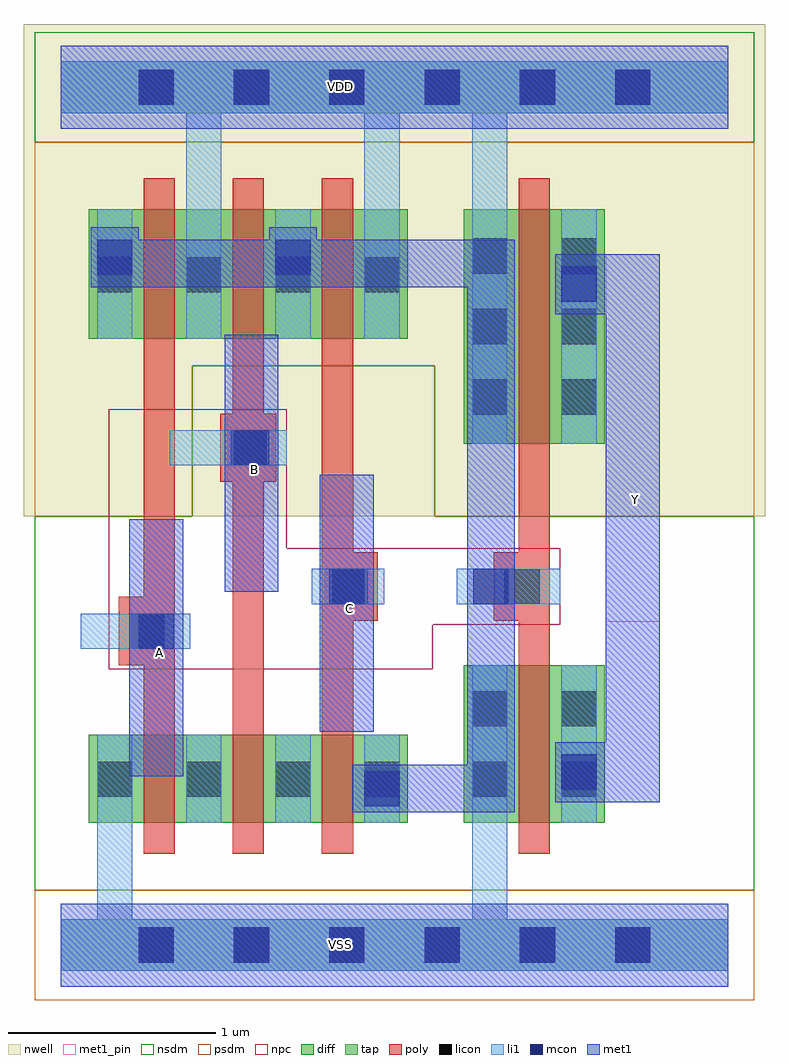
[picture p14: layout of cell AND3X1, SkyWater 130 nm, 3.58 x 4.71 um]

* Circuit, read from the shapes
.subckt AND3X1 A B C VDD VSS Y
XM1 n1 A VSS VSS sky130_fd_pr__nfet_01v8 w=0.425 l=0.15
XM2 n2 B n1 VSS sky130_fd_pr__nfet_01v8 w=0.425 l=0.15
XM3 n3 C n2 VSS sky130_fd_pr__nfet_01v8 w=0.425 l=0.15
XM4 Y n3 VSS VSS sky130_fd_pr__nfet_01v8 w=0.76 l=0.15
XM5 VDD A n3 VDD sky130_fd_pr__pfet_01v8 w=0.625 l=0.15
XM6 n3 B VDD VDD sky130_fd_pr__pfet_01v8 w=0.625 l=0.15
XM7 VDD C n3 VDD sky130_fd_pr__pfet_01v8 w=0.625 l=0.15
XM8 Y n3 VDD VDD sky130_fd_pr__pfet_01v8 w=1.13 l=0.15
.ends

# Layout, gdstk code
from math import pi, radians
import gdstk
lib = gdstk.Library(unit=1e-6, precision=1e-09)
def R(c, l, rs):  # rectangles x0, y0, x1, y1
    for r in rs: c.add(gdstk.rectangle(r[:2], r[2:], *l))
def A(c, l, x, y, w, h, nx, ny, dx, dy):  # array of equal rectangles
    R(c, l, [(x+i*dx, y+j*dy, x+i*dx+w, y+j*dy+h) for i in range(nx) for j in range(ny)])
def P(c, l, *ps):  # polygons
    for p in ps: c.add(gdstk.Polygon(p, *l))
nwell = (64, 20)
diff = (65, 20)
tap = (65, 44)
poly = (66, 20)
licon = (66, 44)
li1 = (67, 20)
mcon = (67, 44)
met1_pin = (68, 16)
met1 = (68, 20)
nsdm = (93, 44)
psdm = (94, 20)
npc = (95, 20)

pyl1con_c_cdns_751554744 = lib.new_cell('PYL1CON_C_CDNS_751554744751')
R(pyl1con_c_cdns_751554744, poly, [(-0.135,-0.165,0.135,0.165)])
R(pyl1con_c_cdns_751554744, licon, [(-0.085,-0.085,0.085,0.085)])
R(pyl1con_c_cdns_751554744, npc, [(-0.185,-0.185,0.185,0.185)])

l1m1_c_cdns_751554744750 = lib.new_cell('L1M1_C_CDNS_751554744750$$8')
R(l1m1_c_cdns_751554744750, li1, [(-0.085,-0.165,0.085,0.165)])
R(l1m1_c_cdns_751554744750, mcon, [(-0.085,-0.085,0.085,0.085)])
R(l1m1_c_cdns_751554744750, met1, [(-0.115,-0.145,0.115,0.145)])

c_l1m1_c_cdns_751554744750 = lib.new_cell('L1M1_C_CDNS_751554744750$$9')
R(c_l1m1_c_cdns_751554744750, li1, [(-0.165,-0.085,0.165,0.085)])
R(c_l1m1_c_cdns_751554744750, mcon, [(-0.085,-0.085,0.085,0.085)])
R(c_l1m1_c_cdns_751554744750, met1, [(-0.115,-0.145,0.115,0.145)])

and3x1 = lib.new_cell('AND3X1')
R(and3x1, nwell, [(-0.18,2.07,3.4,4.445)])
R(and3x1, diff, [(0.135,0.59,1.675,1.015), (1.945,0.59,2.625,1.35), (1.945,2.42,2.625,3.55), (0.135,2.925,1.675,3.55)])
A(and3x1, poly, 0.4, 0.44, 0.15, 3.26, 3, 1, 0.43, 0)
R(and3x1, poly, [(2.21,0.44,2.36,3.7)])
A(and3x1, licon, 0.375, -0.085, 0.17, 0.17, 6, 2, 0.46, 4.14)
A(and3x1, licon, 0.175, 0.715, 0.17, 0.17, 4, 2, 0.43, 2.435)
A(and3x1, licon, 1.985, 2.56, 0.17, 0.17, 1, 3, 0, 0.34)
A(and3x1, licon, 2.415, 2.56, 0.17, 0.17, 1, 3, 0, 0.34)
R(and3x1, licon, [(1.985,0.715,2.155,0.885), (2.415,0.715,2.585,0.885), (1.985,1.055,2.155,1.225), (2.415,1.055,2.585,1.225)])
A(and3x1, li1, 0.605, 0.59, 0.17, 0.425, 3, 1, 0.43, 0)
R(and3x1, li1, [(2.415,0.59,2.585,1.35), (2.415,2.42,2.585,3.55), (0.175,2.925,0.345,3.55), (1.035,2.925,1.205,3.55)])
P(and3x1, li1, [(3.22,4.265),(0,4.265),(0,4.015),(0.605,4.015),(0.605,2.925),(0.775,2.925),(0.775,4.015),(1.465,4.015),(1.465,2.925),(1.635,2.925),(1.635,4.015),(1.985,4.015),(1.985,2.42),(2.155,2.42),(2.155,4.015),(3.22,4.015)],
  [(3.22,0.125),(2.155,0.125),(2.155,1.35),(1.985,1.35),(1.985,0.125),(0.345,0.125),(0.345,1.015),(0.175,1.015),(0.175,0.125),(0,0.125),(0,-0.125),(3.22,-0.125)])
A(and3x1, mcon, 0.375, -0.085, 0.17, 0.17, 6, 2, 0.46, 4.14)
R(and3x1, met1_pin, [(0.33,0.815,0.59,2.055), (1.25,1.03,1.51,2.27), (2.63,1.56,2.89,3.335), (0.79,1.705,1.05,2.945)])
P(and3x1, met1, [(2.19,3.405),(0.145,3.405),(0.145,3.175),(1.96,3.175),(1.96,0.87),(1.485,0.87),(1.485,0.64),(2.19,0.64)],
  [(2.89,3.335),(2.5,3.335),(2.5,3.23),(2.47,3.23),(2.47,3.045),(2.63,3.045),(2.63,0.98),(2.5,0.98),(2.5,0.865),(2.47,0.865),(2.47,0.69),(2.89,0.69)])
R(and3x1, nsdm, [(-0.125,3.875,3.345,4.405)])
P(and3x1, nsdm, [(3.345,2.07),(1.805,2.07),(1.805,2.795),(0.635,2.795),(0.635,2.07),(-0.125,2.07),(-0.125,0.265),(3.345,0.265)])
R(and3x1, psdm, [(-0.125,-0.265,3.345,0.265)])
P(and3x1, psdm, [(3.345,3.875),(-0.125,3.875),(-0.125,2.07),(0.635,2.07),(0.635,2.795),(1.805,2.795),(1.805,2.07),(3.345,2.07)])
P(and3x1, npc, [(2.41,1.915),(1.09,1.915),(1.09,2.585),(0.23,2.585),(0.23,1.33),(1.795,1.33),(1.795,1.545),(2.41,1.545)])
and3x1.add(gdstk.FlexPath([(2.075,1.73),(2.41,1.73)], 0.17, ends="flush", simple_path=True, layer=67, datatype=20))  # li1
and3x1.add(gdstk.FlexPath([(0.095,1.515),(0.6,1.515)], 0.17, ends="flush", simple_path=True, layer=67, datatype=20))  # li1
and3x1.add(gdstk.FlexPath([(1.09,2.4),(0.525,2.4)], 0.17, ends="flush", simple_path=True, layer=67, datatype=20))  # li1
and3x1.add(gdstk.FlexPath([(1.56,1.73),(1.21,1.73)], 0.17, ends="flush", simple_path=True, layer=67, datatype=20))  # li1
and3x1.add(gdstk.FlexPath([(0,0),(3.22,0)], 0.4, ends="flush", simple_path=True, layer=68, datatype=20))  # met1
and3x1.add(gdstk.FlexPath([(0.46,0.815),(0.46,2.055)], 0.26, ends="flush", simple_path=True, layer=68, datatype=20))  # met1
and3x1.add(gdstk.FlexPath([(1.38,1.03),(1.38,2.27)], 0.26, ends="flush", simple_path=True, layer=68, datatype=20))  # met1
and3x1.add(gdstk.FlexPath([(0.92,1.705),(0.92,2.945)], 0.26, ends="flush", simple_path=True, layer=68, datatype=20))  # met1
and3x1.add(gdstk.FlexPath([(0,4.14),(3.22,4.14)], 0.4, ends="flush", simple_path=True, layer=68, datatype=20))  # met1
and3x1.add(gdstk.FlexPath([(0,4.14),(3.22,4.14)], 0.4, ends="flush", simple_path=True, layer=68, datatype=16))  # met1_pin
and3x1.add(gdstk.FlexPath([(0,0),(3.22,0)], 0.4, ends="flush", simple_path=True, layer=68, datatype=16))  # met1_pin
and3x1.add(gdstk.FlexPath([(0,4.14),(3.22,4.14)], 0.25, ends="flush", simple_path=True, layer=65, datatype=44))  # tap
and3x1.add(gdstk.FlexPath([(0,0),(3.22,0)], 0.25, ends="flush", simple_path=True, layer=65, datatype=44))  # tap
and3x1.add(gdstk.Reference(pyl1con_c_cdns_751554744, (2.225,1.73)))
and3x1.add(gdstk.Reference(pyl1con_c_cdns_751554744, (0.415,1.515)))
and3x1.add(gdstk.Reference(pyl1con_c_cdns_751554744, (1.395,1.73)))
and3x1.add(gdstk.Reference(pyl1con_c_cdns_751554744, (0.905,2.4)))
and3x1.add(gdstk.Reference(l1m1_c_cdns_751554744750, (1.12,3.32)))
and3x1.add(gdstk.Reference(l1m1_c_cdns_751554744750, (0.26,3.32)))
and3x1.add(gdstk.Reference(l1m1_c_cdns_751554744750, (2.5,3.19)))
and3x1.add(gdstk.Reference(l1m1_c_cdns_751554744750, (2.5,0.835)))
and3x1.add(gdstk.Reference(c_l1m1_c_cdns_751554744750, (1.55,0.755), rotation=3*pi/2))
and3x1.add(gdstk.Reference(c_l1m1_c_cdns_751554744750, (2.075,1.73)))
and3x1.add(gdstk.Reference(c_l1m1_c_cdns_751554744750, (0.92,2.4), x_reflection=True))
and3x1.add(gdstk.Reference(c_l1m1_c_cdns_751554744750, (1.38,1.73), x_reflection=True))
and3x1.add(gdstk.Reference(c_l1m1_c_cdns_751554744750, (0.46,1.515), x_reflection=True))
and3x1.add(gdstk.Label('VSS', (1.35,0.005), layer=68, texttype=5))
and3x1.add(gdstk.Label('Y', (2.775,2.15), layer=68, texttype=5))
and3x1.add(gdstk.Label('A', (0.475,1.41), layer=68, texttype=5))
and3x1.add(gdstk.Label('C', (1.395,1.625), layer=68, texttype=5))
and3x1.add(gdstk.Label('B', (0.935,2.295), layer=68, texttype=5))
and3x1.add(gdstk.Label('VDD', (1.351,4.145), layer=68, texttype=5))

lib.write_gds('AND3X1.gds')
